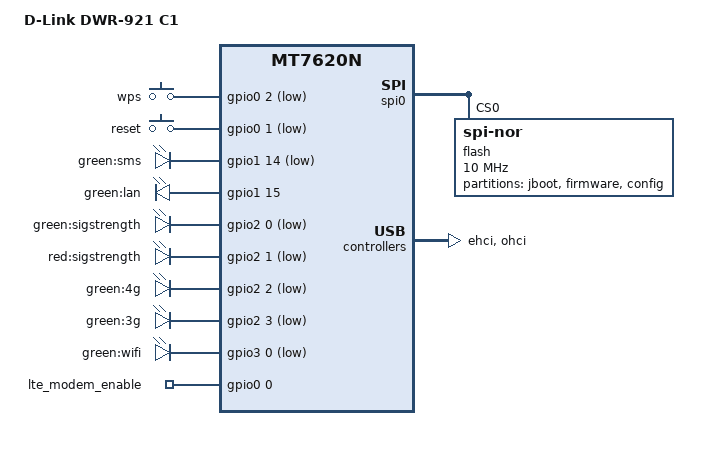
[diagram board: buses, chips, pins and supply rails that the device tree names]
#include "mt7620n.dtsi"

#include <dt-bindings/gpio/gpio.h>
#include <dt-bindings/input/input.h>
#include <dt-bindings/mtd/partitions/uimage.h>

/ {
	compatible = "dlink,dwr-921-c1", "ralink,mt7620n-soc";
	model = "D-Link DWR-921 C1";

	aliases {
		led-boot = &led_sstrenghg;
		led-failsafe = &led_sstrenghg;
	};

	keys {
		compatible = "gpio-keys";

		wps {
			label = "wps";
			gpios = <&gpio0 2 GPIO_ACTIVE_LOW>;
			linux,code = <KEY_WPS_BUTTON>;
		};

		reset {
			label = "reset";
			gpios = <&gpio0 1 GPIO_ACTIVE_LOW>;
			linux,code = <KEY_RESTART>;
		};
	};

	leds {
		compatible = "gpio-leds";

		sms {
			label = "green:sms";
			gpios = <&gpio1 14 GPIO_ACTIVE_LOW>;
		};

		lan {
			label = "green:lan";
			gpios = <&gpio1 15 GPIO_ACTIVE_HIGH>;
		};

		led_sstrenghg: sstrengthg {
			label = "green:sigstrength";
			gpios = <&gpio2 0 GPIO_ACTIVE_LOW>;
		};

		sstrengthr {
			label = "red:sigstrength";
			gpios = <&gpio2 1 GPIO_ACTIVE_LOW>;
		};

		4g {
			label = "green:4g";
			gpios = <&gpio2 2 GPIO_ACTIVE_LOW>;
		};

		3g {
			label = "green:3g";
			gpios = <&gpio2 3 GPIO_ACTIVE_LOW>;
		};

		wifi {
			label = "green:wifi";
			gpios = <&gpio3 0 GPIO_ACTIVE_LOW>;
		};
	};

	gpio_export {
		compatible = "gpio-export";
		#size-cells = <0>;

		lte_modem_enable {
			gpio-export,name = "lte_modem_enable";
			gpio-export,output = <1>;
			gpios = <&gpio0 0 GPIO_ACTIVE_HIGH>;
		};
	};
};

&gpio1 {
	status = "okay";
};

&gpio2 {
	status = "okay";
};

&gpio3 {
	status = "okay";
};

&spi0 {
	status = "okay";

	flash@0 {
		compatible = "jedec,spi-nor";
		reg = <0>;
		spi-max-frequency = <10000000>;

		partitions {
			compatible = "fixed-partitions";
			#address-cells = <1>;
			#size-cells = <1>;

			partition@0 {
				label = "jboot";
				reg = <0x0 0x10000>;
				read-only;
			};

			partition@10000 {
				compatible = "openwrt,uimage", "denx,uimage";
				openwrt,ih-magic = <IH_MAGIC_OKLI>;
				openwrt,offset = <0x10000>;
				label = "firmware";
				reg = <0x10000 0xfe0000>;
			};

			config: partition@ff0000 {
				label = "config";
				reg = <0xff0000 0x10000>;
				read-only;
			};
		};
	};
};

&ehci {
	status = "okay";
};

&ohci {
	status = "okay";
};

&state_default {
	default {
		groups = "spi refclk", "i2c", "ephy", "wled";
		function = "gpio";
	};
};
